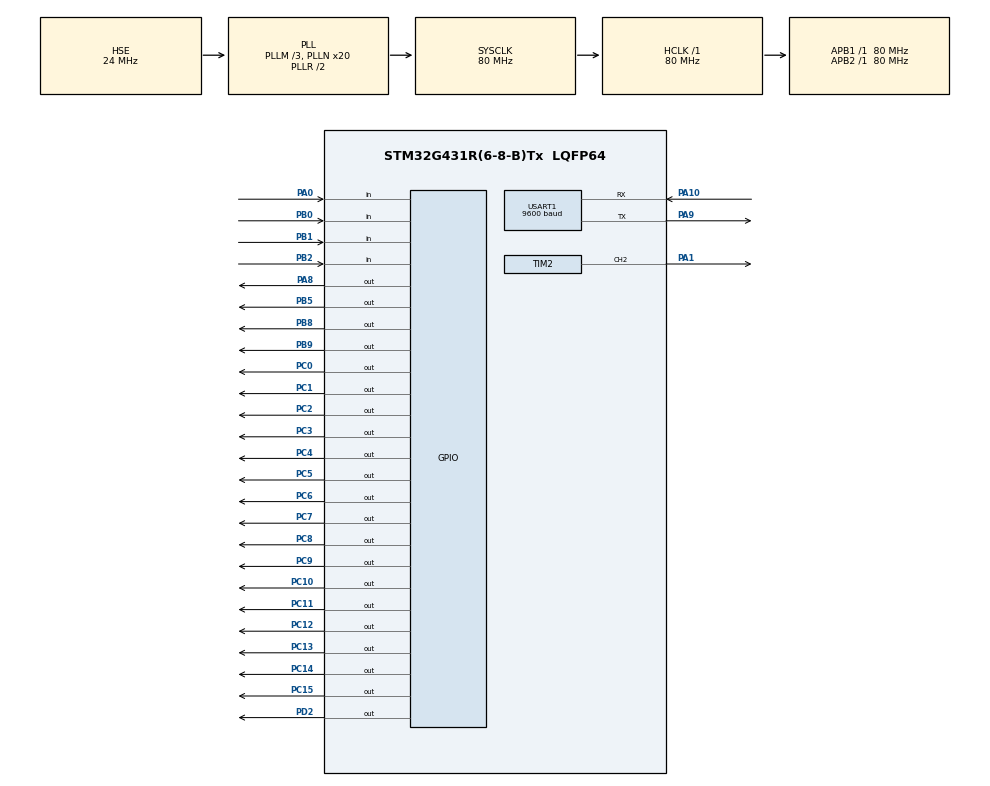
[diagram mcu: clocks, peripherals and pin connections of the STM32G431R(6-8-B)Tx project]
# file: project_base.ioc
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Mcu.Family=STM32G4
Mcu.Name=STM32G431R(6-8-B)Tx
Mcu.Package=LQFP64
NVIC.PriorityGroup=NVIC_PRIORITYGROUP_4
NVIC.TIM1_TRG_COM_TIM17_IRQn=true\:0\:0\:false\:false\:true\:true\:true\:true
NVIC.USART1_IRQn=true\:0\:0\:false\:false\:true\:true\:true\:true
PA0.GPIO_PuPd=GPIO_PULLUP
PA0.Signal=GPIO_Input
PA1.Signal=S_TIM2_CH2
PA10.Mode=Asynchronous
PA10.Signal=USART1_RX
PA13.Mode=Serial_Wire
PA13.Signal=SYS_JTMS-SWDIO
PA14.Mode=Serial_Wire
PA14.Signal=SYS_JTCK-SWCLK
PA8.Signal=GPIO_Output
PA9.Mode=Asynchronous
PA9.Signal=USART1_TX
PB0.GPIO_PuPd=GPIO_PULLUP
PB0.Signal=GPIO_Input
PB1.GPIO_PuPd=GPIO_PULLUP
PB1.Signal=GPIO_Input
PB2.GPIO_PuPd=GPIO_PULLUP
PB2.Signal=GPIO_Input
PB5.Signal=GPIO_Output
PB8-BOOT0.Signal=GPIO_Output
PB9.Signal=GPIO_Output
PC0.Signal=GPIO_Output
PC1.Signal=GPIO_Output
PC10.Signal=GPIO_Output
PC11.Signal=GPIO_Output
PC12.Signal=GPIO_Output
PC13.Signal=GPIO_Output
PC14-OSC32_IN.Signal=GPIO_Output
PC15-OSC32_OUT.Signal=GPIO_Output
PC2.Signal=GPIO_Output
PC3.Signal=GPIO_Output
PC4.Signal=GPIO_Output
PC5.Signal=GPIO_Output
PC6.Signal=GPIO_Output
PC7.Signal=GPIO_Output
PC8.Signal=GPIO_Output
PC9.Signal=GPIO_Output
PD2.Signal=GPIO_Output
PF0-OSC_IN.Mode=HSE-External-Oscillator
PF0-OSC_IN.Signal=RCC_OSC_IN
PF1-OSC_OUT.Mode=HSE-External-Oscillator
PF1-OSC_OUT.Signal=RCC_OSC_OUT
ProjectManager.HeapSize=0x200
ProjectManager.StackSize=0x400
ProjectManager.TargetToolchain=MDK-ARM V5.32
RCC.ADC12Freq_Value=80000000
RCC.AHBFreq_Value=80000000
RCC.APB1Freq_Value=80000000
RCC.APB1TimFreq_Value=80000000
RCC.APB2Freq_Value=80000000
RCC.APB2TimFreq_Value=80000000
RCC.CortexFreq_Value=80000000
RCC.EXTERNAL_CLOCK_VALUE=12288000
RCC.HCLKFreq_Value=80000000
RCC.HSE_VALUE=24000000
RCC.HSI48_VALUE=48000000
RCC.HSI_VALUE=16000000
RCC.LSE_VALUE=32768
RCC.PLLM=RCC_PLLM_DIV3
RCC.PLLN=20
RCC.PLLSourceVirtual=RCC_PLLSOURCE_HSE
RCC.SYSCLKFreq_VALUE=80000000
RCC.SYSCLKSource=RCC_SYSCLKSOURCE_PLLCLK
RCC.USBFreq_Value=80000000
RCC.VCOOutputFreq_Value=160000000
SH.S_TIM2_CH2.0=TIM2_CH2,PWM Generation2 CH2
TIM17.PeriodNoDither=100-1
TIM17.Prescaler=800-1
TIM2.Channel-PWM\ Generation2\ CH2=TIM_CHANNEL_2
USART1.BaudRate=9600
USART1.VirtualMode-Asynchronous=VM_ASYNC
VP_SYS_VS_DBSignals.Mode=DisableDeadBatterySignals
VP_TIM17_VS_ClockSourceINT.Mode=Enable_Timer
board=custom

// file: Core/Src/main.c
/* USER CODE BEGIN Header */
/**
  ******************************************************************************
  * @file           : main.c
  * @brief          : Main program body
  ******************************************************************************
  * @attention
  *
  * Copyright (c) 2025 STMicroelectronics.
  * All rights reserved.
  *
  * This software is licensed under terms that can be found in the LICENSE file
  * in the root directory of this software component.
  * If no LICENSE file comes with this software, it is provided AS-IS.
  *
  ******************************************************************************
  */
/* USER CODE END Header */
#include "main.h"
#include "tim.h"
#include "usart.h"
#include "gpio.h"

void SystemClock_Config(void);

/* USER CODE BEGIN 0 */
u8 lcd_mod=0;
char B1='@',B2='@',B3='@';
char pass_char[3]={'1','2','3'};
double F,D;
int b1,b11,b2,b22,b3,b33,b4,b44;
int compare=50;
int tim5s,tim5s_con;
u8 rx[20],rx_ok,rx_len;
u8 error_num,ld2;
int error_5s,error_100ms,error_con;
int psc;
int arr;
void HAL_TIM_PeriodElapsedCallback(TIM_HandleTypeDef *htim)
{
	if(htim->Instance==TIM17)
	{
		if(tim5s_con)
		{
			if(++tim5s==5000)
			{
				tim5s=0;
				tim5s_con=0;
				TIM2->PSC=800-1;compare=50;
				lcd_mod^=1;
				LCD_Clear(Black);
			}
		}
		if(error_con)
		{
			if(++error_100ms==100)
			{
				error_100ms=0;
				ld2^=1;
			}
			if(++error_5s==5000)
			{
				error_5s=0;
				error_con=0;
				error_100ms=0;
			}
		}
	}
}
void lcd(void)
{
	u8 text[25];
	if(lcd_mod==0)
	{
		sprintf((char *)text,"       PSD       ");
		LCD_DisplayStringLine(Line1, (unsigned char *)text);
		sprintf((char *)text,"    B1:%c        ",B1);
		LCD_DisplayStringLine(Line3, (unsigned char *)text);
		sprintf((char *)text,"    B2:%c        ",B2);
		LCD_DisplayStringLine(Line4, (unsigned char *)text);
		sprintf((char *)text,"    B3:%c        ",B3);
		LCD_DisplayStringLine(Line5, (unsigned char *)text);
	}
	if(lcd_mod==1)
	{
		sprintf((char *)text,"       STA       ");
		LCD_DisplayStringLine(Line1, (unsigned char *)text);
		sprintf((char *)text,"    F:%.0fHz        ",F);
		LCD_DisplayStringLine(Line3, (unsigned char *)text);
		sprintf((char *)text,"    D:%.0f%%        ",D);
		LCD_DisplayStringLine(Line4, (unsigned char *)text);

	}
}
void key(void)
{
	if(HAL_GPIO_ReadPin(GPIOB,GPIO_PIN_0)==0) b1=1;
	else b1=0;
	if(lcd_mod==0)
	{
		if(b1==1&&b11==0)
		{
			b11=1;
			if(lcd_mod==0)
			{
				if(B1=='@') B1='0';
				else B1++;
				if(B1=='9'+1) B1='0';
			}
		}if(b1==0&&b11==1) b11=0;

		if(HAL_GPIO_ReadPin(GPIOB,GPIO_PIN_1)==0) b2=1;
		else b2=0;
		if(b2==1&&b22==0)
		{
			b22=1;
			if(lcd_mod==0)
			{
				if(B2=='@') B2='0';
				else B2++;
				if(B2=='9'+1) B2='0';
			}
		}if(b2==0&&b22==1) b22=0;

		if(HAL_GPIO_ReadPin(GPIOB,GPIO_PIN_2)==0) b3=1;
		else b3=0;
		if(b3==1&&b33==0)
		{
			b33=1;
			if(lcd_mod==0)
			{
				if(B3=='@') B3='0';
				else B3++;
				if(B3=='9'+1) B3='0';
			}
		}if(b3==0&&b33==1) b33=0;
	}

	if(HAL_GPIO_ReadPin(GPIOA,GPIO_PIN_0)==0) b4=1;
	else b4=0;
	if(b4==1&&b44==0)
	{
		b44=1;
		if(lcd_mod==0)
		{
			if(pass_char[0]==B1&&pass_char[1]==B2&&pass_char[2]==B3)
			{
				lcd_mod^=1;
				LCD_Clear(Black);
				TIM2->PSC=400-1;compare=10;
				tim5s_con=1;
				error_num=0;
				B1='@';
				B2='@';
				B3='@';
			}
			else
			{
				error_num++;
				if(error_num>=3)
				{
					error_num=0;
					error_con=1;
				}
				B1='@';
				B2='@';
				B3='@';
			}
		}
	}if(b4==0&&b44==1) b44=0;
}
void uart(void)
{
	if(rx_ok)
	{
		rx_ok=0;
		if(rx[0]==pass_char[0]&&rx[1]==pass_char[1]&&rx[2]==pass_char[2]&&rx[3]=='-')
		{
			pass_char[0]=rx[4];
			pass_char[1]=rx[5];
			pass_char[2]=rx[6];
		}
	}
	memset(rx,'\0',sizeof(rx));
}
/* USER CODE END 0 */

int main(void)
{

  /* MCU Configuration--------------------------------------------------------*/

  /* Reset of all peripherals, Initializes the Flash interface and the Systick. */
  HAL_Init();

  /* Configure the system clock */
  SystemClock_Config();

  /* Initialize all configured peripherals */
  MX_GPIO_Init();
  MX_TIM2_Init();
  MX_TIM17_Init();
  MX_USART1_UART_Init();

  /* Infinite loop */
  /* USER CODE BEGIN WHILE */
	LCD_Init();
	LCD_SetBackColor(Black);
	LCD_SetTextColor(White);
	LCD_Clear(Black);
	HAL_TIM_Base_Start_IT(&htim17);
	HAL_TIM_PWM_Start(&htim2,TIM_CHANNEL_2);
	TIM2->PSC=800-1;
	TIM2->ARR=100-1;
	__HAL_UART_ENABLE_IT(&huart1,UART_IT_RXNE);
	__HAL_UART_ENABLE_IT(&huart1,UART_IT_IDLE);
  while (1)
  {
	   psc=TIM2->PSC;
	   arr=TIM2->ARR;
	  F=80000000.0/(psc+1.0)/(arr+1.0);
	  __HAL_TIM_SetCompare(&htim2,TIM_CHANNEL_2,compare);
	  D=compare;
	  lcd();key();uart();
    /* USER CODE END WHILE */

    /* USER CODE BEGIN 3 */
	  HAL_GPIO_WritePin(GPIOC,(uint16_t)0xff00,1);
	  if(tim5s_con) HAL_GPIO_WritePin(GPIOC,GPIO_PIN_8,0);
	  if(error_con) HAL_GPIO_WritePin(GPIOC,GPIO_PIN_9,ld2);
	  HAL_GPIO_WritePin(GPIOD,GPIO_PIN_2,1);
	  HAL_GPIO_WritePin(GPIOD,GPIO_PIN_2,0);
  }
  /* USER CODE END 3 */
}

void SystemClock_Config(void)
{
  RCC_OscInitTypeDef RCC_OscInitStruct = {0};
  RCC_ClkInitTypeDef RCC_ClkInitStruct = {0};

  /** Configure the main internal regulator output voltage
  */
  HAL_PWREx_ControlVoltageScaling(PWR_REGULATOR_VOLTAGE_SCALE1);

  /** Initializes the RCC Oscillators according to the specified parameters
  * in the RCC_OscInitTypeDef structure.
  */
  RCC_OscInitStruct.OscillatorType = RCC_OSCILLATORTYPE_HSE;
  RCC_OscInitStruct.HSEState = RCC_HSE_ON;
  RCC_OscInitStruct.PLL.PLLState = RCC_PLL_ON;
  RCC_OscInitStruct.PLL.PLLSource = RCC_PLLSOURCE_HSE;
  RCC_OscInitStruct.PLL.PLLM = RCC_PLLM_DIV3;
  RCC_OscInitStruct.PLL.PLLN = 20;
  RCC_OscInitStruct.PLL.PLLP = RCC_PLLP_DIV2;
  RCC_OscInitStruct.PLL.PLLQ = RCC_PLLQ_DIV2;
  RCC_OscInitStruct.PLL.PLLR = RCC_PLLR_DIV2;
  if (HAL_RCC_OscConfig(&RCC_OscInitStruct) != HAL_OK)
  {
    Error_Handler();
  }

  /** Initializes the CPU, AHB and APB buses clocks
  */
  RCC_ClkInitStruct.ClockType = RCC_CLOCKTYPE_HCLK|RCC_CLOCKTYPE_SYSCLK
                              |RCC_CLOCKTYPE_PCLK1|RCC_CLOCKTYPE_PCLK2;
  RCC_ClkInitStruct.SYSCLKSource = RCC_SYSCLKSOURCE_PLLCLK;
  RCC_ClkInitStruct.AHBCLKDivider = RCC_SYSCLK_DIV1;
  RCC_ClkInitStruct.APB1CLKDivider = RCC_HCLK_DIV1;
  RCC_ClkInitStruct.APB2CLKDivider = RCC_HCLK_DIV1;

  if (HAL_RCC_ClockConfig(&RCC_ClkInitStruct, FLASH_LATENCY_2) != HAL_OK)
  {
    Error_Handler();
  }
}

void Error_Handler(void)
{
  __disable_irq();
  while (1)
  {
  }
}
